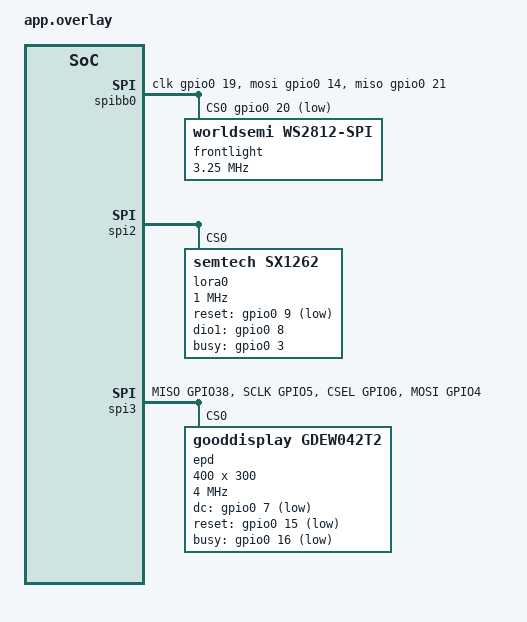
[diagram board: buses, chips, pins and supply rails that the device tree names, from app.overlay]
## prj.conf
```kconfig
# Copyright (c) 2021 Nordic Semiconductor ASA
# SPDX-License-Identifier: Apache-2.0
#
# This file contains selected Kconfig options for the application.

CONFIG_SENSOR=y
CONFIG_LOG=y
CONFIG_SPI=y
CONFIG_SPI_BITBANG=y
CONFIG_LORA=y
CONFIG_PRINTK=y
CONFIG_LED_STRIP=y
CONFIG_LED_STRIP_LOG_LEVEL_DBG=y
CONFIG_WS2812_STRIP=y
CONFIG_DISPLAY=y
CONFIG_UC81XX=y
#CONFIG_BOOTLOADER_MCUBOOT=y
CONFIG_CHARACTER_FRAMEBUFFER=y
CONFIG_HEAP_MEM_POOL_SIZE=16384
CONFIG_SHELL=y
CONFIG_CHARACTER_FRAMEBUFFER_SHELL=y
CONFIG_BT=y
CONFIG_BT_DEBUG_LOG=y
CONFIG_BT_CENTRAL=y
CONFIG_BT_SMP=y
CONFIG_BT_L2CAP_TX_BUF_COUNT=5
CONFIG_BT_GATT_CLIENT=y
CONFIG_BT_GATT_DM=y
CONFIG_HEAP_MEM_POOL_SIZE=2048

CONFIG_BT_SCAN=y
CONFIG_BT_PRIVACY=y

CONFIG_SYSTEM_WORKQUEUE_STACK_SIZE=2048

CONFIG_BT_SETTINGS=y
CONFIG_FLASH=y
CONFIG_FLASH_PAGE_LAYOUT=y
CONFIG_FLASH_MAP=y
CONFIG_NVS=y
CONFIG_SETTINGS=y
```

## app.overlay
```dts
/* FRST Model 1/2 */
#include <zephyr/dt-bindings/led/led.h>

/ {
    aliases {
        lora0 = &lora0;
    };
	chosen {
        zephyr,console = &uart0;
        zephyr,shell-uart = &uart0;
		zephyr,display = &epd;
	};
    spibb0: spibb0 {
        compatible = "zephyr,spi-bitbang";
        status="okay";
        #address-cells = <1>;
        #size-cells = <0>;
        clk-gpios = <&gpio0 19 GPIO_ACTIVE_HIGH>;
        mosi-gpios = <&gpio0 14 GPIO_ACTIVE_HIGH>;
        miso-gpios = <&gpio0 21 0>;
        cs-gpios = <&gpio0 20 GPIO_ACTIVE_LOW>;

        frontlight: ws2812@0 {
            compatible = "worldsemi,ws2812-spi";
            reg = <0>;
            spi-max-frequency = <3250000>;
            chain-length = <4>;
            spi-one-frame = <0x40>;
            spi-zero-frame = <0x70>;
            color-mapping = <LED_COLOR_ID_GREEN LED_COLOR_ID_RED LED_COLOR_ID_BLUE>;
        };
    };
};

&pinctrl {
    display_default: display_default {
        group1 {
            pinmux = <SPIM3_MISO_GPIO38>, <SPIM3_SCLK_GPIO5>, <SPIM3_CSEL_GPIO6>;
        };
        group2 {
            pinmux = <SPIM3_MOSI_GPIO4>;
            output-low;
        };
    };
};

&spi2 {
     lora0: sx1262@0 {
            reg = <0>;
            compatible = "semtech,sx1262";
            reset-gpios = <&gpio0 9 GPIO_ACTIVE_LOW>;
            dio1-gpios = <&gpio0 8 GPIO_ACTIVE_HIGH>;
            busy-gpios = <&gpio0 3 GPIO_ACTIVE_HIGH>;
            spi-max-frequency = <1000000>;
     };
};

&spi3 {
    pinctrl-0 = <&display_default>;
    pinctrl-names = "default";

	epd: uc8176@0 {
		compatible = "gooddisplay,gdew042t2", "ultrachip,uc8176";
		spi-max-frequency = <4000000>;
		reg = <0>;
		width = <400>;
		height = <300>;
		dc-gpios = <&gpio0 7 GPIO_ACTIVE_LOW>;
		reset-gpios = <&gpio0 15 GPIO_ACTIVE_LOW>;
		busy-gpios = <&gpio0 16 GPIO_ACTIVE_LOW>;

		softstart = [17 17 17];

		full {
			pwr = [03 00 26 26 09];
			cdi = <0xd7>;
			tcon = <0x22>;
		};
	};
};
```

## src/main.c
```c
/*
 * Copyright (c) 2021 Nordic Semiconductor ASA
 * SPDX-License-Identifier: Apache-2.0
 */

#include <zephyr/drivers/lora.h>
#include <zephyr/drivers/led_strip.h>
#include <zephyr/drivers/display.h>
#include <zephyr/display/cfb.h>
#include <errno.h>
#include <zephyr/sys/util.h>
#include <zephyr/kernel.h>
#include <app_version.h>

#include <zephyr/logging/log.h>
#include "FRST_Boot_Screen_1.h"

LOG_MODULE_REGISTER(main, CONFIG_APP_LOG_LEVEL);

#define MAX_DATA_LEN 10

char data[MAX_DATA_LEN] = {'h', 'e', 'l', 'l', 'o', 'w', 'o', 'r', 'l', 'd'};

#define DELAY_TIME K_MSEC(50)

#define RGB(_r, _g, _b) { .r = (_r), .g = (_g), .b = (_b) }

static const struct led_rgb colors[] = {
	RGB(0x0f, 0x00, 0x00), /* red */
	RGB(0x00, 0x0f, 0x00), /* green */
	RGB(0x00, 0x00, 0x0f), /* blue */
	RGB(0xff, 0xff, 0xff), /* white */
	RGB(0xa0, 0xa0, 0xa0), /* gray */
};

struct led_rgb pixels[4];

void lora_receive_cb(const struct device *dev, uint8_t *data, uint16_t size, int16_t rssi, int8_t snr) {
	static int cnt;

	ARG_UNUSED(dev);
	ARG_UNUSED(size);

	LOG_INF("Received data: %s (RSSI:%ddBm, SNR:%ddBm)",
		data, rssi, snr);

	/* Stop receiving after 10 packets */
    /*
	if (++cnt == 10) {
		LOG_INF("Stopping packet receptions");
		lora_recv_async(dev, NULL);
	}
    */
}

int main(void) {
	size_t x;
	size_t y;
	size_t rect_w;
	size_t rect_h;
	size_t h_step;
	size_t scale;
	size_t grey_count;
	uint8_t *buf;
	struct display_buffer_descriptor buf_desc;
	size_t buf_size = 0;
	
	printk("Zephyr Example Application %s\n", APP_VERSION_STRING);

	const struct device *const lora_dev = DEVICE_DT_GET(DT_NODELABEL(lora0));
	const struct device *const display_dev = DEVICE_DT_GET(DT_CHOSEN(zephyr_display));
	const struct device *const spibb_dev = DEVICE_DT_GET(DT_NODELABEL(spibb0));
    const struct device *const frontlight_dev = DEVICE_DT_GET(DT_NODELABEL(frontlight));
    struct lora_modem_config config;
	struct display_capabilities capabilities;
	int ret, len;
    uint8_t recv_data[MAX_DATA_LEN] = { 0 };
    int16_t rssi;
    int8_t snr;
    
    size_t cursor = 0, color = 0;
	int rc;

	if (device_is_ready(frontlight_dev)) {
		LOG_INF("Found LED strip device %s", frontlight_dev->name);
	} else {
		LOG_ERR("LED strip device %s is not ready", frontlight_dev->name);
		return 0;
	}

	LOG_INF("Displaying pattern on strip");

    memset(&pixels, 0x00, sizeof(pixels));
    memcpy(&pixels[0], &colors[0], sizeof(struct led_rgb));
    memcpy(&pixels[1], &colors[1], sizeof(struct led_rgb));
    memcpy(&pixels[2], &colors[2], sizeof(struct led_rgb));
    memcpy(&pixels[3], &colors[3], sizeof(struct led_rgb));
    rc = led_strip_update_rgb(frontlight_dev, pixels, 4);

    if (rc) {
        LOG_ERR("couldn't update strip: %d", rc);
    }

	if (!device_is_ready(display_dev)) {
		LOG_ERR("device not ready: %s", display_dev->name);
		return 0;
    }

    if (display_set_pixel_format(display_dev, PIXEL_FORMAT_MONO10) != 0) {
		LOG_ERR("Failed to set required pixel format");
        return 0;
    }

    int cfb_ret = cfb_framebuffer_init(display_dev);
	if (cfb_ret != 0) {
		LOG_ERR("cfb init failed! with code: %d", cfb_ret);
    }

	if (!device_is_ready(lora_dev)) {
		LOG_ERR("device not ready: %s", lora_dev->name);
		return 0;
    }

    /*
	config.frequency = 865100000;
	config.bandwidth = BW_125_KHZ;
	config.datarate = SF_10;
	config.preamble_len = 8;
	config.coding_rate = CR_4_5;
	config.iq_inverted = false;
	config.public_network = false;
	config.tx_power = 4;
	config.tx = false;
	//config.tx = true;

	ret = lora_config(lora_dev, &config);
	if (ret < 0) {
		LOG_ERR("LoRa config failed");
		return 0;
	}
    */

	LOG_INF("Display sample for %s", display_dev->name);
	display_get_capabilities(display_dev, &capabilities);
	LOG_INF("width: %d", capabilities.x_resolution);
	LOG_INF("height: %d", capabilities.y_resolution);

	if (capabilities.screen_info & SCREEN_INFO_MONO_VTILED) {
		rect_w = 16;
		rect_h = 8;
	} else {
		rect_w = 2;
		rect_h = 1;
	}

	h_step = rect_h;
	LOG_INF("h_step: %d", h_step);

	scale = (capabilities.x_resolution / 8) / rect_h;

	rect_w *= scale;
	rect_h *= scale;

	buf_size = rect_w * rect_h;

	if (buf_size < (capabilities.x_resolution * h_step)) {
		buf_size = capabilities.x_resolution * h_step;
	}

    // MONO:
    buf_size /= 8;

	buf = k_malloc(buf_size);

	if (buf == NULL) {
		LOG_ERR("Could not allocate memory. Aborting sample.");
		return 0;
	} else {
	    LOG_INF("alloc'd");
    }

	(void)memset(buf, 0xAAu, buf_size / 2);

	buf_desc.buf_size = buf_size;
	buf_desc.pitch = capabilities.x_resolution;
	buf_desc.width = capabilities.x_resolution;
	buf_desc.height = h_step;

    // Fill display with header_data (Boot screen)
    uint8_t *buf_start = buf;
	for (int idx = 0; idx < capabilities.y_resolution; idx += h_step) {
        for (int p = 0; p < capabilities.x_resolution; p = p + 8) {
            uint8_t val = header_data[(idx * capabilities.x_resolution) + p] << 7 | header_data[(idx * capabilities.x_resolution) + p + 1] << 6 | header_data[(idx * capabilities.x_resolution) + p + 2] << 5 | header_data[(idx * capabilities.x_resolution) + p + 3] << 4 | header_data[(idx * capabilities.x_resolution) + p + 4] << 3 | header_data[(idx * capabilities.x_resolution) + p + 5] << 2 | header_data[(idx * capabilities.x_resolution) + p + 6] << 1 | header_data[(idx * capabilities.x_resolution) + p + 7];
            printk("val: %#010x", val);
            *buf++ = val;
        }
        buf = buf_start;
		display_write(display_dev, 0, idx, &buf_desc, buf);
	}

    LOG_INF("buf: %#010x", buf);

	display_blanking_off(display_dev);

	grey_count = 0;
	x = 0;
	y = capabilities.y_resolution - rect_h;

   	/* Receive 4 packets synchronously */
    /*
	LOG_INF("Synchronous reception");
	for (int i = 0; i < 4; i++) {
		// Block until data arrives
		len = lora_recv(lora_dev, data, MAX_DATA_LEN, K_FOREVER,
				&rssi, &snr);
		if (len < 0) {
			LOG_ERR("LoRa receive failed");
			return 0;
		}

		LOG_INF("Received data: %s (RSSI:%ddBm, SNR:%ddBm)",
			data, rssi, snr);
	}
    */

	/* Enable asynchronous reception */
    /*
	LOG_INF("Asynchronous reception");
	lora_recv_async(lora_dev, lora_receive_cb);
	k_sleep(K_FOREVER);
    */

    /*
	while (1) {
		ret = lora_send(lora_dev, data, MAX_DATA_LEN);
		if (ret < 0) {
			LOG_ERR("LoRa send failed");
			return 0;
		}

		LOG_INF("Data sent!");

		// Send data at 1s interval
		k_sleep(K_MSEC(1000));
	}
    */

	return 0;
}
```
